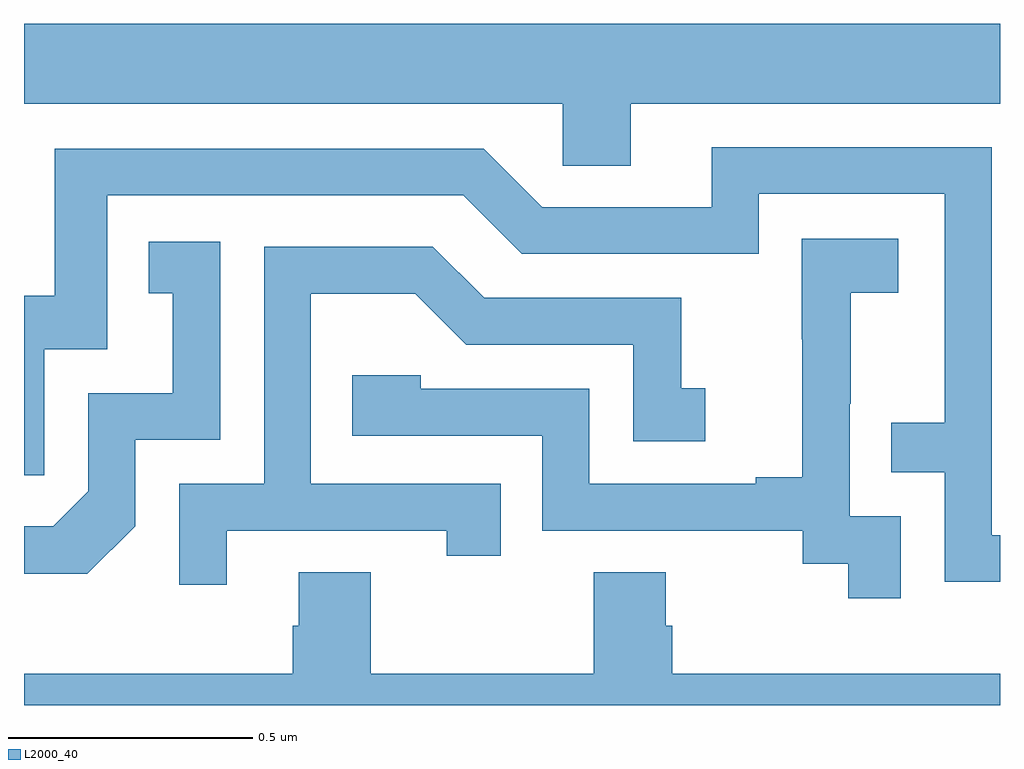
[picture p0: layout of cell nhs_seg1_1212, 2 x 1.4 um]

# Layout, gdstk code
import gdstk
lib = gdstk.Library(unit=1e-6, precision=1e-09)
def P(c, l, *ps):  # polygons
    for p in ps: c.add(gdstk.Polygon(p, *l))
L2000_40 = (2000, 40)

nhs_seg1_1212 = lib.new_cell('nhs_seg1_1212')
P(nhs_seg1_1212, L2000_40, [(127.243,518.432),(128,518.432),(128,518.596),(126,518.596),(126,518.432),(127.104,518.432),(127.104,518.305),(127.243,518.305)],
  [(128,517.548),(127.983,517.548),(127.983,518.343),(127.409,518.343),(127.409,518.22),(127.062,518.22),(126.942,518.34),(126.063,518.34),(126.063,518.038),(126,518.038),(126,517.671),(126.042,517.671),(126.042,517.929),(126.171,517.929),(126.171,518.244),(126.9,518.244),(127.02,518.124),(127.506,518.124),(127.506,518.247),(127.887,518.247),(127.887,517.778),(127.777,517.778),(127.777,517.677),(127.887,517.677),(127.887,517.452),(128,517.452)],
  [(127.797,517.587),(127.692,517.587),(127.692,517.817),(127.694,517.817),(127.694,518.045),(127.792,518.045),(127.792,518.155),(127.594,518.155),(127.594,517.949),(127.595,517.949),(127.595,517.666),(127.499,517.666),(127.499,517.653),(127.158,517.653),(127.158,517.848),(126.813,517.848),(126.813,517.875),(126.673,517.875),(126.673,517.752),(127.062,517.752),(127.062,517.557),(127.596,517.557),(127.596,517.489),(127.689,517.489),(127.689,517.419),(127.797,517.419)],
  [(126.228,517.566),(126.228,517.743),(126.402,517.743),(126.402,518.149),(126.256,518.149),(126.256,518.043),(126.305,518.043),(126.305,517.839),(126.132,517.839),(126.132,517.638),(126.06,517.566),(126,517.566),(126,517.469),(126.13,517.469)],
  [(126.415,517.557),(126.866,517.557),(126.866,517.506),(126.977,517.506),(126.977,517.653),(126.588,517.653),(126.588,518.042),(126.802,518.042),(126.906,517.938),(127.248,517.938),(127.248,517.74),(127.396,517.74),(127.396,517.849),(127.347,517.849),(127.347,518.034),(126.943,518.034),(126.838,518.139),(126.492,518.139),(126.492,517.653),(126.318,517.653),(126.318,517.446),(126.415,517.446)],
  [(128,517.264),(127.328,517.264),(127.328,517.362),(127.315,517.362),(127.315,517.472),(127.168,517.472),(127.168,517.264),(126.711,517.264),(126.711,517.472),(126.563,517.472),(126.563,517.362),(126.551,517.362),(126.551,517.264),(126,517.264),(126,517.199),(128,517.199)])

lib.write_gds('nhs_seg1_1212.gds')
